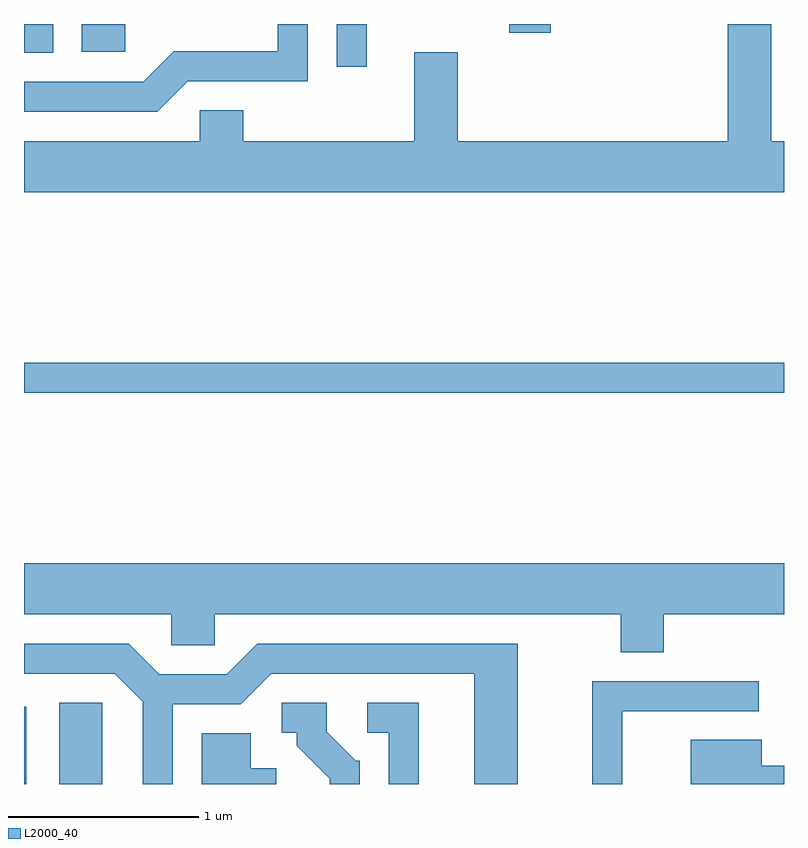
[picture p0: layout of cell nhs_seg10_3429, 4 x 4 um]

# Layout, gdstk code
import gdstk
lib = gdstk.Library(unit=1e-6, precision=1e-09)
def R(c, l, rs):  # rectangles x0, y0, x1, y1
    for r in rs: c.add(gdstk.rectangle(r[:2], r[2:], *l))
def P(c, l, *ps):  # polygons
    for p in ps: c.add(gdstk.Polygon(p, *l))
L2000_40 = (2000, 40)

nhs_seg10_3429 = lib.new_cell('nhs_seg10_3429')
R(nhs_seg10_3429, L2000_40, [(285.611,2168.522,285.624,2168.929), (285.796,2168.522,286.024,2168.949), (285.611,2170.581,289.611,2170.739), (287.256,2172.298,287.414,2172.522), (285.611,2172.371,285.764,2172.522), (285.916,2172.376,286.144,2172.522), (288.166,2172.476,288.384,2172.522)])
P(nhs_seg10_3429, L2000_40, [(289.611,2171.904),(289.544,2171.904),(289.544,2172.522),(289.316,2172.522),(289.316,2171.904),(287.894,2171.904),(287.894,2172.374),(287.666,2172.374),(287.666,2171.904),(286.764,2171.904),(286.764,2172.069),(286.536,2172.069),(286.536,2171.904),(285.611,2171.904),(285.611,2171.636),(289.611,2171.636)],
  [(286.472,2172.221),(287.104,2172.221),(287.104,2172.522),(286.946,2172.522),(286.946,2172.379),(286.399,2172.379),(286.239,2172.219),(285.611,2172.219),(285.611,2172.061),(286.312,2172.061)],
  [(288.979,2169.416),(289.611,2169.416),(289.611,2169.684),(285.611,2169.684),(285.611,2169.416),(286.386,2169.416),(286.386,2169.251),(286.614,2169.251),(286.614,2169.416),(288.751,2169.416),(288.751,2169.216),(288.979,2169.216)],
  [(286.394,2168.941),(286.752,2168.941),(286.912,2169.101),(287.981,2169.101),(287.981,2168.522),(288.209,2168.522),(288.209,2169.259),(286.839,2169.259),(286.679,2169.099),(286.322,2169.099),(286.162,2169.259),(285.611,2169.259),(285.611,2169.101),(286.089,2169.101),(286.236,2168.954),(286.236,2168.522),(286.394,2168.522)],
  [(288.759,2168.906),(289.478,2168.906),(289.478,2169.064),(288.601,2169.064),(288.601,2168.522),(288.759,2168.522)],
  [(287.379,2168.644),(287.357,2168.644),(287.204,2168.797),(287.204,2168.949),(286.968,2168.949),(286.968,2168.791),(287.046,2168.791),(287.046,2168.724),(287.221,2168.549),(287.221,2168.522),(287.379,2168.522)],
  [(287.689,2168.949),(287.418,2168.949),(287.418,2168.791),(287.531,2168.791),(287.531,2168.522),(287.689,2168.522)],
  [(286.939,2168.604),(286.804,2168.604),(286.804,2168.789),(286.546,2168.789),(286.546,2168.522),(286.939,2168.522)],
  [(289.611,2168.619),(289.494,2168.619),(289.494,2168.754),(289.121,2168.754),(289.121,2168.522),(289.611,2168.522)])

lib.write_gds('nhs_seg10_3429.gds')
